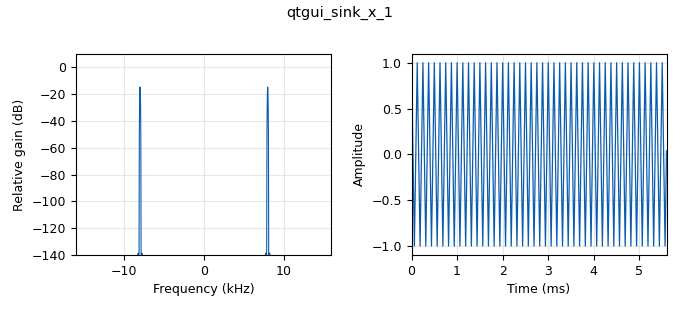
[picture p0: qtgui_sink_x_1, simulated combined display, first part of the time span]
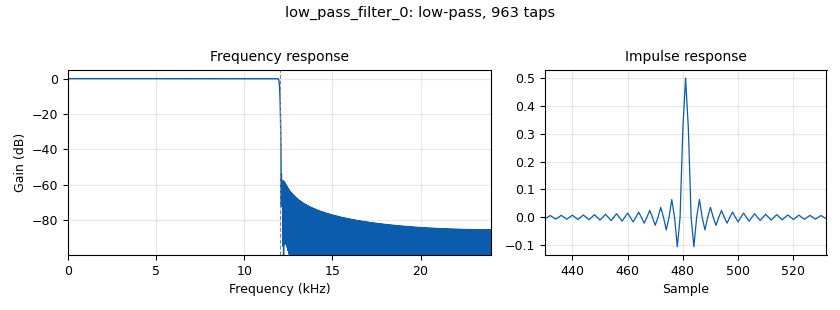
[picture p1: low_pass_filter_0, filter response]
options:
  parameters:
    author: Amirdhavarshini T
    generate_options: qt_gui
    id: wavefile
    output_language: python
    title: Not titled yet
  states: {}

blocks:
- name: samp_rate
  id: variable
  parameters:
    value: '32000'
  states: {}
- name: analog_sig_source_x_0
  id: analog_sig_source_x
  parameters:
    amp: '1'
    freq: '24000'
    offset: '0'
    phase: '0'
    samp_rate: samp_rate
    type: float
    waveform: analog.GR_COS_WAVE
  states: {}
- name: audio_sink_0
  id: audio_sink
  parameters:
    samp_rate: '48000'
  states: {}
- name: blocks_multiply_xx_0
  id: blocks_multiply_xx
  parameters:
    type: float
  states: {}
- name: blocks_multiply_xx_0_0
  id: blocks_multiply_xx
  parameters:
    type: float
  states: {}
- name: blocks_wavfile_source_0
  id: blocks_wavfile_source
  parameters:
    file: C:\Users\Amirdhavarshini T\Downloads\wavfile.wav.mp3
    repeat: 'True'
  states: {}
- name: low_pass_filter_0
  id: low_pass_filter
  parameters:
    cutoff_freq: '12000'
    gain: '1'
    interp: '1'
    samp_rate: '48000'
    type: interp_fir_filter_fff
    width: '120'
    win: window.WIN_HAMMING
  states: {}
- name: qtgui_sink_x_0
  id: qtgui_sink_x
  parameters:
    bw: '48000'
    fc: '0'
    fftsize: '1024'
    name: '"modulated signal"'
    type: float
  states: {}
- name: qtgui_sink_x_0_0
  id: qtgui_sink_x
  parameters:
    bw: '48000'
    fc: '0'
    fftsize: '1024'
    name: '"demodulated signal"'
    type: float
  states: {}
- name: qtgui_sink_x_1
  id: qtgui_sink_x
  parameters:
    bw: samp_rate
    fc: '0'
    fftsize: '1024'
    type: float
  states: {}
- name: qtgui_sink_x_2
  id: qtgui_sink_x
  parameters:
    bw: samp_rate
    fc: '0'
    fftsize: '1024'
    type: float
  states: {}

connections:
- [analog_sig_source_x_0, '0', blocks_multiply_xx_0, '1']
- [analog_sig_source_x_0, '0', blocks_multiply_xx_0_0, '1']
- [analog_sig_source_x_0, '0', qtgui_sink_x_1, '0']
- [blocks_multiply_xx_0, '0', blocks_multiply_xx_0_0, '0']
- [blocks_multiply_xx_0, '0', qtgui_sink_x_0, '0']
- [blocks_multiply_xx_0_0, '0', low_pass_filter_0, '0']
- [blocks_wavfile_source_0, '0', blocks_multiply_xx_0, '0']
- [blocks_wavfile_source_0, '0', qtgui_sink_x_2, '0']
- [low_pass_filter_0, '0', audio_sink_0, '0']
- [low_pass_filter_0, '0', qtgui_sink_x_0_0, '0']

metadata:
  file_format: 1
  grc_version: 3.10.7.0
